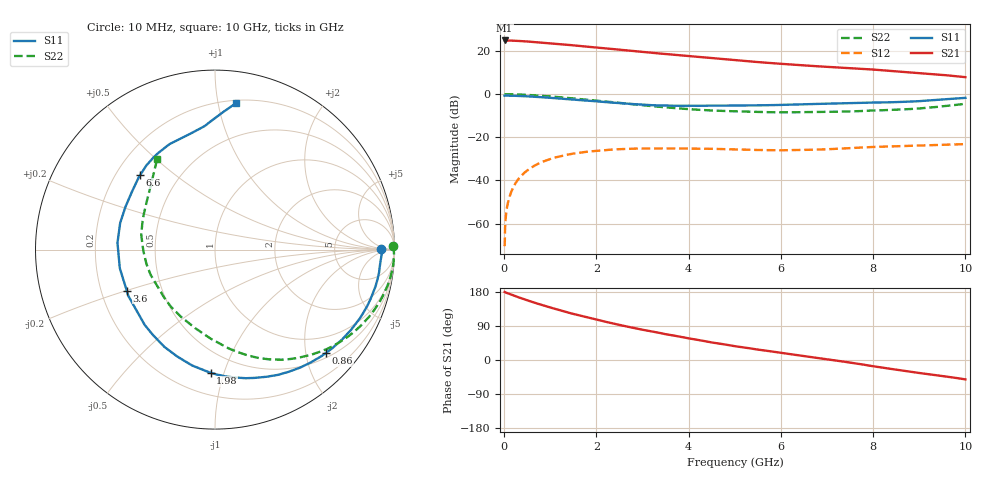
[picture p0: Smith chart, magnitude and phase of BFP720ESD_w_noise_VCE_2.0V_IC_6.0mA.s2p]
! Infineon Technologies  Discrete & RF Semiconductors
! BFP720ESD
! VCE =  2.0 V,  IC =  6.0 mA
! Common Emitter S-Parameters:  Jan 2016
# GHz  S  MA  R  50
!  f  S11  S21  S12  S22
! GHz  MAG  ANG  MAG  ANG  MAG  ANG  MAG  ANG
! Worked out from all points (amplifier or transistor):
!   233 points, 10 MHz to 10 GHz, reference 50 ohm
!   highest |S21| = 24.9 dB at 10 MHz (marker M1)
!   |S21| within 3 dB of that: start of sweep to 1.861 GHz
!   unconditionally stable (mu >= 1): 5.616 GHz to 9.319 GHz
!   at 200 MHz: K = 0.05, MSG = 34.0 dB, |S12| = -43.1 dB
!   at 1.74 GHz: K = 0.29, MSG = 24.5 dB, |S12| = -26.8 dB
!   at 10 GHz: K = 0.73, MSG = 15.5 dB, |S12| = -23.1 dB
!   lowest NFmin = 0.58 dB at 450 MHz
!   S11 on the Smith chart (normalised r, x): 10 MHz: 26, +1; 860 MHz: 0.60, -2.42; 1.98 GHz: 0.35, -0.90; 3.6 GHz: 0.31, -0.20; 6.6 GHz: 0.30, +0.38; 10 GHz: 0.22, +1.13
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0.01  0.9249 0.1  17.62 179.4  0.0003 -166.2  0.9918 1.2
0.035  0.929 -1.8  17.45 178.1  0.0014 88.2  0.9971 -1.0
0.105  0.923 -5.6  17.52 175.1  0.0038 86.8  0.9974 -3.6
0.28  0.9144 -14.4  17.22 166.9  0.0098 80.4  0.9871 -9.8
0.48  0.8951 -24.4  16.72 158.4  0.0165 73.9  0.9663 -16.5
0.64  0.8744 -32.3  16.26 151.9  0.0214 68.7  0.9445 -21.7
0.86  0.8447 -42.9  15.59 143.7  0.0278 62.1  0.9111 -28.5
1.22  0.7918 -59.8  14.48 130.8  0.0366 52.0  0.849 -39.3
1.4  0.7646 -67.9  13.88 124.6  0.0402 47.4  0.8161 -44.2
1.68  0.7253 -79.9  13.03 115.9  0.0448 40.9  0.7678 -51.4
1.98  0.6864 -92.0  12.13 107.2  0.0487 34.8  0.7181 -58.6
2.62  0.6085 -118.2  10.47 89.4  0.0539 23.0  0.6111 -73.6
3  0.5741 -133.0  9.588 79.8  0.0552 17.2  0.5552 -82.2
3.4  0.548 -147.8  8.73 70.7  0.0554 12.5  0.5065 -90.6
3.6  0.5422 -155.1  8.36 66.1  0.0554 10.4  0.4858 -95.0
4  0.5404 -168.9  7.697 57.1  0.0552 6.7  0.4511 -104.2
4.5  0.5447 176.0  6.897 46.3  0.0542 2.8  0.4197 -116.8
5.1  0.5483 162.3  6.029 34.8  0.0522 0.2  0.3986 -129.5
6.6  0.5883 135.1  4.581 8.6  0.0514 1.3  0.3853 -160.6
6.8  0.5957 132.2  4.436 5.3  0.0521 1.7  0.3869 -164.5
8.4  0.6506 105.5  3.445 -23.7  0.0616 -1.9  0.433 158.9
10  0.8221 82.0  2.483 -51.2  0.0697 -8.7  0.5995 122.5
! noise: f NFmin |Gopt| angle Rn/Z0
0.45  0.58  0.43  5  0.13
0.9  0.61  0.42  12  0.14
1.9  0.64  0.36  31  0.13
2.4  0.68  0.34  36  0.14
5.5  0.89  0.11  111  0.08
10  1.47  0.54  -97  0.38
